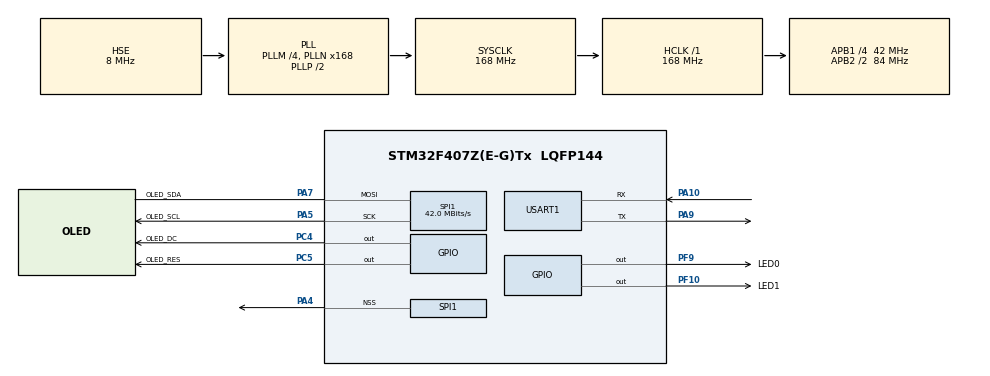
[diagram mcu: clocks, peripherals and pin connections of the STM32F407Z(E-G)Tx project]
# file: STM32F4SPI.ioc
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Dma.Request0=USART1_RX
Dma.Request1=SPI1_TX
Dma.SPI1_TX.1.Direction=DMA_MEMORY_TO_PERIPH
Dma.SPI1_TX.1.FIFOMode=DMA_FIFOMODE_DISABLE
Dma.SPI1_TX.1.Instance=DMA2_Stream3
Dma.SPI1_TX.1.MemDataAlignment=DMA_MDATAALIGN_BYTE
Dma.SPI1_TX.1.MemInc=DMA_MINC_ENABLE
Dma.SPI1_TX.1.Mode=DMA_NORMAL
Dma.SPI1_TX.1.PeriphDataAlignment=DMA_PDATAALIGN_BYTE
Dma.SPI1_TX.1.PeriphInc=DMA_PINC_DISABLE
Dma.SPI1_TX.1.Priority=DMA_PRIORITY_LOW
Dma.USART1_RX.0.Direction=DMA_PERIPH_TO_MEMORY
Dma.USART1_RX.0.FIFOMode=DMA_FIFOMODE_DISABLE
Dma.USART1_RX.0.Instance=DMA2_Stream2
Dma.USART1_RX.0.MemDataAlignment=DMA_MDATAALIGN_BYTE
Dma.USART1_RX.0.MemInc=DMA_MINC_ENABLE
Dma.USART1_RX.0.Mode=DMA_CIRCULAR
Dma.USART1_RX.0.PeriphDataAlignment=DMA_PDATAALIGN_BYTE
Dma.USART1_RX.0.PeriphInc=DMA_PINC_DISABLE
Dma.USART1_RX.0.Priority=DMA_PRIORITY_LOW
Mcu.Family=STM32F4
Mcu.Name=STM32F407Z(E-G)Tx
Mcu.Package=LQFP144
NVIC.DMA2_Stream2_IRQn=true\:0\:0\:false\:false\:true\:false\:true
NVIC.DMA2_Stream3_IRQn=true\:0\:0\:false\:false\:true\:false\:true
NVIC.PriorityGroup=NVIC_PRIORITYGROUP_4
NVIC.USART1_IRQn=true\:0\:0\:false\:false\:true\:true\:true
PA10.Mode=Asynchronous
PA10.Signal=USART1_RX
PA13.Mode=Serial_Wire
PA13.Signal=SYS_JTMS-SWDIO
PA14.Mode=Serial_Wire
PA14.Signal=SYS_JTCK-SWCLK
PA4.Mode=NSS_Signal_Hard_Output
PA4.Signal=SPI1_NSS
PA5.GPIO_Label=OLED_SCL
PA5.GPIO_Speed=GPIO_SPEED_FREQ_MEDIUM
PA5.Mode=Simplex_Bidirectional_Master
PA5.Signal=SPI1_SCK
PA7.GPIO_Label=OLED_SDA
PA7.GPIO_Speed=GPIO_SPEED_FREQ_MEDIUM
PA7.Mode=Simplex_Bidirectional_Master
PA7.Signal=SPI1_MOSI
PA9.Mode=Asynchronous
PA9.Signal=USART1_TX
PC14-OSC32_IN.Mode=LSE-External-Oscillator
PC14-OSC32_IN.Signal=RCC_OSC32_IN
PC15-OSC32_OUT.Mode=LSE-External-Oscillator
PC15-OSC32_OUT.Signal=RCC_OSC32_OUT
PC4.GPIO_Label=OLED_DC
PC4.GPIO_Speed=GPIO_SPEED_FREQ_VERY_HIGH
PC4.PinState=GPIO_PIN_SET
PC4.Signal=GPIO_Output
PC5.GPIO_Label=OLED_RES
PC5.GPIO_Speed=GPIO_SPEED_FREQ_VERY_HIGH
PC5.PinState=GPIO_PIN_SET
PC5.Signal=GPIO_Output
PF10.GPIO_Label=LED1
PF10.PinState=GPIO_PIN_SET
PF10.Signal=GPIO_Output
PF9.GPIO_Label=LED0
PF9.PinState=GPIO_PIN_SET
PF9.Signal=GPIO_Output
PH0-OSC_IN.Mode=HSE-External-Oscillator
PH0-OSC_IN.Signal=RCC_OSC_IN
PH1-OSC_OUT.Mode=HSE-External-Oscillator
PH1-OSC_OUT.Signal=RCC_OSC_OUT
ProjectManager.HeapSize=0x200
ProjectManager.StackSize=0x400
ProjectManager.TargetToolchain=SW4STM32
RCC.48MHZClocksFreq_Value=84000000
RCC.AHBFreq_Value=168000000
RCC.APB1CLKDivider=RCC_HCLK_DIV4
RCC.APB1Freq_Value=42000000
RCC.APB1TimFreq_Value=84000000
RCC.APB2CLKDivider=RCC_HCLK_DIV2
RCC.APB2Freq_Value=84000000
RCC.APB2TimFreq_Value=168000000
RCC.CortexFreq_Value=168000000
RCC.HCLKFreq_Value=168000000
RCC.HSE_VALUE=8000000
RCC.HSI_VALUE=16000000
RCC.PLLM=4
RCC.PLLN=168
RCC.PLLSourceVirtual=RCC_PLLSOURCE_HSE
RCC.SYSCLKFreq_VALUE=168000000
RCC.SYSCLKSource=RCC_SYSCLKSOURCE_PLLCLK
RCC.VCOOutputFreq_Value=336000000
SPI1.BaudRatePrescaler=SPI_BAUDRATEPRESCALER_2
SPI1.CLKPhase=SPI_PHASE_2EDGE
SPI1.CLKPolarity=SPI_POLARITY_HIGH
SPI1.CalculateBaudRate=42.0 MBits/s
SPI1.Direction=SPI_DIRECTION_1LINE
SPI1.FirstBit=SPI_FIRSTBIT_MSB
SPI1.Mode=SPI_MODE_MASTER
SPI1.VirtualNSS=VM_NSSHARD
SPI1.VirtualType=VM_MASTER
USART1.OverSampling=UART_OVERSAMPLING_16
USART1.VirtualMode=VM_ASYNC
board=custom

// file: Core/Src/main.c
/* USER CODE BEGIN Header */
/**
  ******************************************************************************
  * @file           : main.c
  * @brief          : Main program body
  ******************************************************************************
  * @attention
  *
  * <h2><center>&copy; Copyright (c) 2021 STMicroelectronics.
  * All rights reserved.</center></h2>
  *
  * This software component is licensed by ST under BSD 3-Clause license,
  * the "License"; You may not use this file except in compliance with the
  * License. You may obtain a copy of the License at:
  *                        opensource.org/licenses/BSD-3-Clause
  *
  ******************************************************************************
  */
/* USER CODE END Header */
#include "main.h"
#include "dma.h"
#include "spi.h"
#include "usart.h"
#include "gpio.h"

/* USER CODE BEGIN Includes */

#include <string.h>
#include "../OLED/OLED.h"
#include "../OLED/OLEDBMP.h"

/* USER CODE END Includes */

/* USER CODE BEGIN PD */
#define BUFFER_SIZE_MAX 1024 //串口最大接收长度
/* USER CODE END PD */

/* USER CODE BEGIN PM */
//宏
uint8_t receive_buff[BUFFER_SIZE_MAX];
uint8_t oled_buff[4][256];
uint8_t oled_log = 0;
/* USER CODE END PM */

/* USER CODE BEGIN PV */
//变量
/* USER CODE END PV */

void SystemClock_Config(void);

int main(void)
{

  /* MCU Configuration--------------------------------------------------------*/

  /* Reset of all peripherals, Initializes the Flash interface and the Systick. */
  HAL_Init();

  /* Configure the system clock */
  SystemClock_Config();

  /* USER CODE BEGIN SysInit */
  MX_DMA_Init();//使用串口1的DMA必须写这行,否则无数据
  /* USER CODE END SysInit */

  /* Initialize all configured peripherals */
  MX_GPIO_Init();
  MX_USART1_UART_Init();
  MX_DMA_Init();
  MX_SPI1_Init();
  /* USER CODE BEGIN 2 */

    __HAL_UART_ENABLE_IT(&huart1, UART_IT_IDLE);// 使能串口空闲中断
    HAL_UART_Receive_DMA(&huart1, (uint8_t *) receive_buff, BUFFER_SIZE_MAX);//开始DMA传输 每次255字节数据
    HAL_Delay(100);
    OLED_Init();
    HAL_Delay(1);
    OLED_ColorTurn(0);//0正常显示，1 反色显示
    OLED_DisplayTurn(0);//0正常显示 1 屏幕翻转显示

  /* USER CODE END 2 */

  /* Infinite loop */
  /* USER CODE BEGIN WHILE */
  OLED_ShowPicture(0,0,128,64,BMP1,1);
  OLED_Refresh();
  while (1)
  {
    /* USER CODE END WHILE */

    /* USER CODE BEGIN 3 */
      while(BUFFER_SIZE_MAX - __HAL_DMA_GET_COUNTER(&hdma_usart1_rx) == 1024);
      HAL_UART_DMAStop(&huart1); //停止本次DMA传输
  }
  /* USER CODE END 3 */
}

void SystemClock_Config(void)
{
  RCC_OscInitTypeDef RCC_OscInitStruct = {0};
  RCC_ClkInitTypeDef RCC_ClkInitStruct = {0};

  /** Configure the main internal regulator output voltage
  */
  __HAL_RCC_PWR_CLK_ENABLE();
  __HAL_PWR_VOLTAGESCALING_CONFIG(PWR_REGULATOR_VOLTAGE_SCALE1);
  /** Initializes the RCC Oscillators according to the specified parameters
  * in the RCC_OscInitTypeDef structure.
  */
  RCC_OscInitStruct.OscillatorType = RCC_OSCILLATORTYPE_HSE;
  RCC_OscInitStruct.HSEState = RCC_HSE_ON;
  RCC_OscInitStruct.PLL.PLLState = RCC_PLL_ON;
  RCC_OscInitStruct.PLL.PLLSource = RCC_PLLSOURCE_HSE;
  RCC_OscInitStruct.PLL.PLLM = 4;
  RCC_OscInitStruct.PLL.PLLN = 168;
  RCC_OscInitStruct.PLL.PLLP = RCC_PLLP_DIV2;
  RCC_OscInitStruct.PLL.PLLQ = 4;
  if (HAL_RCC_OscConfig(&RCC_OscInitStruct) != HAL_OK)
  {
    Error_Handler();
  }
  /** Initializes the CPU, AHB and APB buses clocks
  */
  RCC_ClkInitStruct.ClockType = RCC_CLOCKTYPE_HCLK|RCC_CLOCKTYPE_SYSCLK
                              |RCC_CLOCKTYPE_PCLK1|RCC_CLOCKTYPE_PCLK2;
  RCC_ClkInitStruct.SYSCLKSource = RCC_SYSCLKSOURCE_PLLCLK;
  RCC_ClkInitStruct.AHBCLKDivider = RCC_SYSCLK_DIV1;
  RCC_ClkInitStruct.APB1CLKDivider = RCC_HCLK_DIV4;
  RCC_ClkInitStruct.APB2CLKDivider = RCC_HCLK_DIV2;

  if (HAL_RCC_ClockConfig(&RCC_ClkInitStruct, FLASH_LATENCY_5) != HAL_OK)
  {
    Error_Handler();
  }
}

/* USER CODE BEGIN 4 */

void USAR_UART_IDLECallback(UART_HandleTypeDef *huart) {
    if (huart->Instance == USART1) {
        HAL_UART_DMAStop(&huart1); //停止本次DMA传输
        uint32_t data_length = BUFFER_SIZE_MAX - __HAL_DMA_GET_COUNTER(&hdma_usart1_rx);   //计算接收到的数据长度
        //以下为测试代码
        //printf("Receive Data(length = %d): ", data_length);
        //HAL_UART_Transmit(&huart1, receive_buff, data_length, 0x500);             //测试函数：将接收到的数据打印出去
        //printf("\r\n");
        //以上为测试代码
//        for (int i = 0; i < 128; i++) {
//            for (int j = 0; j < 8; j++) {
//                oled_buff[j][i] = receive_buff[i*8+j];
//            }
//        }
//        memcpy(oled_buff[oled_log++],receive_buff,data_length);
//        if(oled_log==4){
//            oled_log = 0;
//            //OLED_Clear();
//            HAL_SPI_Transmit_DMA(&hspi1,oled_buff,1024);
//            printf("ok\n");
//        }
//        HAL_SPI_Transmit_DMA(&hspi1,receive_buff,1024);

        memset(receive_buff, 0, data_length);                                             //清零接收缓冲区
        HAL_UART_Receive_DMA(&huart1, (uint8_t *) receive_buff, BUFFER_SIZE_MAX);                //重启开始DMA传输 每次255字节数据
    }
}

/* USER CODE END 4 */

void Error_Handler(void)
{
  __disable_irq();
  while (1)
  {
  }
}

/************************ (C) COPYRIGHT STMicroelectronics *****END OF FILE****/
